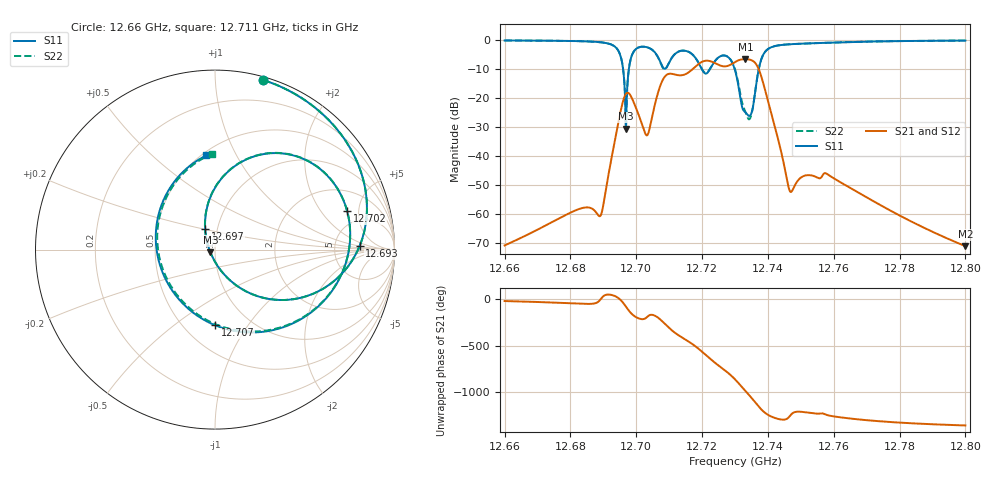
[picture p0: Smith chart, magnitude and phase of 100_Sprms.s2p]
! TOUCHSTONE file generated by CST MICROWAVE STUDIO
! Date and time: Wed Jul 31 15:47:49 2024
! Project name: WaveGuide_BPF-Ver4.1_U-shape_Ku_T3_C4_CWA_2.cst
! Parameters = {cavity_h=16; cavity_l0=10; cavity_l1=15.1727; cavity_l2=16.8662; cavity_l3=17.1449; cavity_l4=17.3064; cavity_l5=17.1621; cavity_l6=17.5654; cavity_r=2.5; cavity_screw_l=0.5; cavity_screw_r=1.5; cavity_w=8; iris_h00=0; iris_h01=8.8208; iris_h112=0; iris_h12=5.6133; iris_h211=3.6615; 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
! Header version: 2018
! Port assignment regex: !\s*Touchstone port\s*([0-9]+)\s*=\s*(CST MWS port|CST DS port)\s*([0-9]+|Zmin|Zmax)\s*\(\"(.*)\"\)(\s*mode\s*([0-9]+))?.*
! Touchstone port assignment:
! Touchstone port 1 = CST MWS port 1 ("")
! Touchstone port 2 = CST MWS port 2 ("")
# GHz S RI R 50
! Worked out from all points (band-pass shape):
!   5001 points, 12.66 GHz to 12.8 GHz, reference 50 ohm
!   highest |S21| = -6.61 dB at 12.733 GHz (marker M1); lowest = -71.1 dB at 12.8 GHz (marker M2)
!   |S21| within 3 dB of the highest: 12.71756 GHz to 12.73704 GHz (19.48 MHz wide, 0.153 % of centre)
!   lowest |S11| = -30.6 dB at 12.697 GHz (marker M3), VSWR 1.06, Z = 47.5 - j1.39 ohm
!   |S11| at or under -10 dB: 12.69599 GHz to 12.69775 GHz (1.757 MHz wide, 0.0138 % of centre); 12.71988 GHz to 12.72242 GHz (2.536 MHz wide, 0.0199 % of centre); 12.72989 GHz to 12.73723 GHz (7.337 MHz wide, 0.0576 % of centre)
!   |S22| runs from -30.5 to -0.2 dB; largest |S21 - S12| = 1.4e-09
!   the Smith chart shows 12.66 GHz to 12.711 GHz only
!   S11 on the Smith chart (normalised r, x): 12.66 GHz: 0.02, +1.32; 12.693 GHz: 9.17, +0.99; 12.697 GHz: 0.87, +0.20; 12.702 GHz: 3.58, +3.71; 12.707 GHz: 0.70, -0.72; 12.711 GHz: 0.53, +0.76
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12.66  0.2663 0.9456  0.000268 -9.73e-05  0.000268 -9.73e-05  0.2691 0.9449
12.68335  0.69 0.6576  0.000817 -0.000947  0.000817 -0.000947  0.6908 0.6571
12.68918  0.8244 0.3949  0.000936 -9.58e-06  0.000936 -9.58e-06  0.8246 0.3955
12.69298  0.8052 0.019  0.00982 0.00846  0.00982 0.00846  0.8065 0.0213
12.69685  -0.0257 -0.0146  0.0217 -0.1157  0.0217 -0.1157  -0.0235 -0.0212
12.69718  -0.0546 0.1131  -0.0133 -0.1218  -0.0133 -0.1218  -0.0548 0.1063
12.70217  0.7363 0.2138  -0.0247 0.0166  -0.0247 0.0166  0.7354 0.2187
12.70668  0.1895 -0.4614  -0.1194 0.0433  -0.1194 0.0433  0.1872 -0.4561
12.70729  0.000344 -0.4214  -0.1283 0.0997  -0.1283 0.0997  -0.00326 -0.413
12.71118  -0.0476 0.5246  0.2501 0.0654  0.2501 0.0654  -0.0194 0.531
12.71519  0.613 0.2045  0.0498 -0.2566  0.0498 -0.2566  0.6217 0.1815
12.71869  0.2435 -0.3494  -0.3639 -0.0954  -0.3639 -0.0954  0.2317 -0.3599
12.72191  -0.284 0.0144  -0.0521 0.4352  -0.0521 0.4352  -0.2899 0.0091
12.72499  0.0215 0.5001  0.3692 0.0511  0.3692 0.0511  0.00486 0.5012
12.73  0.29 -0.0826  -0.3221 -0.2649  -0.3221 -0.2649  0.3038 -0.0671
12.73314  0.0508 0.0253  -0.0493 0.4645  -0.0493 0.4645  0.0559 0.0165
12.73538  -0.0278 0.0598  0.4355 0.0419  0.4355 0.0419  -0.0313 0.0579
12.74011  0.2407 0.6618  -0.0815 -0.0248  -0.0815 -0.0248  0.2405 0.6628
12.74666  0.8419 -0.0697  -0.00246 -0.000227  -0.00246 -0.000227  0.8423 -0.067
12.75335  0.4989 -0.7227  -0.00369 -0.00274  -0.00369 -0.00274  0.5008 -0.7213
12.77668  -0.8411 -0.4471  -0.000633 0.001  -0.000633 0.001  -0.8422 -0.4448
12.8  -0.9659 0.1507  2.78e-05 0.000276  2.78e-05 0.000276  -0.9652 0.155
